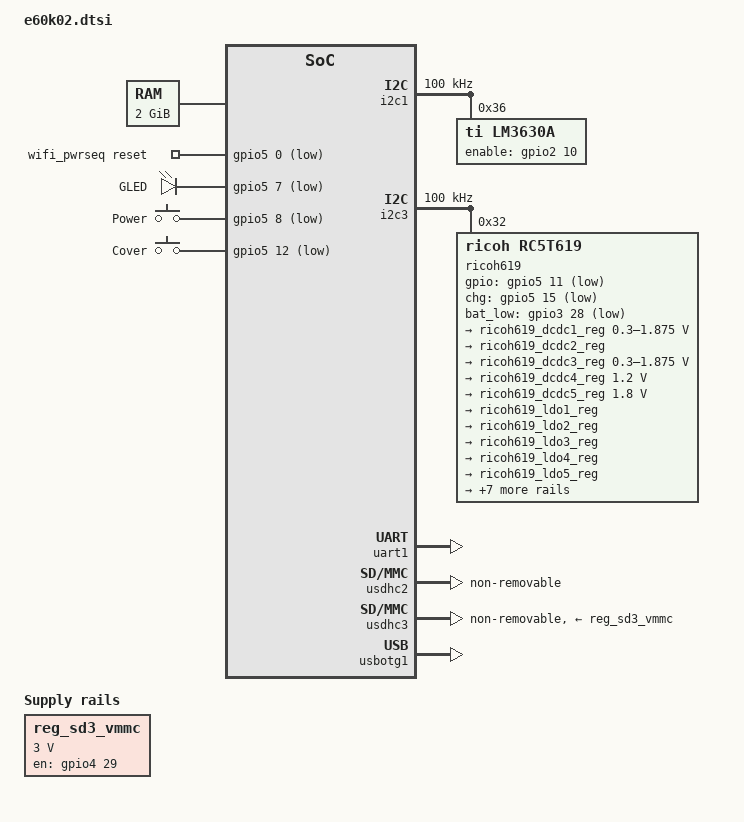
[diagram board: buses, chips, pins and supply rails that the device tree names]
// SPDX-License-Identifier: GPL-2.0
/*
 * Copyright 2019 Andreas Kemnade
 * based on works
 * Copyright 2016 Freescale Semiconductor, Inc.
 * and
 * Copyright (C) 2014 Ricoh Electronic Devices Co., Ltd
 *
 * Netronix E60K02 board common.
 * This board is equipped with different SoCs and
 * found in ebook-readers like the Kobo Clara HD (with i.MX6SLL) and
 * the Tolino Shine 3 (with i.MX6SL)
 */

/ {

	memory {
		reg = <0x80000000 0x80000000>;
	};

	chosen {
		stdout-path = &uart1;
	};

	wifi_pwrseq: wifi_pwrseq {
		compatible = "mmc-pwrseq-simple";
		post-power-on-delay-ms = <20>;
		reset-gpios = <&gpio5 0 GPIO_ACTIVE_LOW>;
	};

	regulators {
		compatible = "simple-bus";
		#address-cells = <1>;
		#size-cells = <0>;

		reg_sd3_vmmc: wifi_regulator {
			compatible = "regulator-fixed";
			regulator-name = "SD3_SPWR";
			regulator-min-microvolt = <3000000>;
			regulator-max-microvolt = <3000000>;

			gpio = <&gpio4 29 GPIO_ACTIVE_HIGH>;
			enable-active-high;

		};
	};

	leds {
		compatible = "gpio-leds";
		pinctrl-names = "default";
		pinctrl-0 = <&pinctrl_led>;

		GLED {
			gpios = <&gpio5 7 GPIO_ACTIVE_LOW>;
			linux,default-trigger = "timer";
		};
	};

	gpio-keys {
		compatible = "gpio-keys";
		pinctrl-names = "default";
		pinctrl-0 = <&pinctrl_gpio_keys>;
		power {
			label = "Power";
			gpios = <&gpio5 8 GPIO_ACTIVE_LOW>;
			linux,code = <KEY_POWER>;
			gpio-key,wakeup;
		};
		cover {
			label = "Cover";
			gpios = <&gpio5 12 GPIO_ACTIVE_LOW>;
			linux,code = <SW_LID>;
			linux,input-type = <0x05>;    /* EV_SW */
			gpio-key,wakeup;
		};
	};

};



&audmux {
	pinctrl-names = "default";
	status = "disabled";
};

&snvs_rtc {
	status = "disabled";
};

&i2c1 {
	clock-frequency = <100000>;
	pinctrl-names = "default","sleep";
	pinctrl-0 = <&pinctrl_i2c1 &pinctrl_lm3630a_bl_gpio>;
	pinctrl-1 = <&pinctrl_i2c1_sleep>;
	status = "okay";

	lm3630a: lm3630a-i2c@36 {
		reg = <0x36>;
		status = "ok";

		compatible = "ti,lm3630a";
		enable-gpios = <&gpio2 10 0>;

		#address-cells = <1>;
		#size-cells = <0>;

		led@0 {
			reg = <0>;
			led-sources = <0>;
			label = "backlight_warm";
			default-brightness = <0>;
			max-brightness = <255>;
		};

		led@1 {
			reg = <1>;
			led-sources = <1>;
			label = "backlight_cold";
			default-brightness = <0>;
			max-brightness = <255>;
		};

	};
};

&i2c3 {
	clock-frequency = <100000>;
	pinctrl-names = "default";
	pinctrl-0 = <&pinctrl_i2c3 &pinctrl_ricoh_gpio>;
	status = "okay";

	ricoh619: ricoh619-i2c@32 {
		compatible = "ricoh,rc5t619";
		reg = <0x32>;

		system-power-controller;
		gpios = <&gpio5 11 GPIO_ACTIVE_LOW>;
		gpio_chg = <&gpio5 15 GPIO_ACTIVE_LOW>;
		gpio_bat_low = <&gpio3 28 GPIO_ACTIVE_LOW>;
	};

};

&ricoh619
{
	compatible = "ricoh,rc5t619";

	regulators {
		ricoh619_dcdc1_reg: DCDC1 {
			regulator-name = "DCDC1";
			regulator-min-microvolt = <300000>;
			regulator-max-microvolt = <1875000>;
			regulator-always-on;
			regulator-boot-on;
			regulator-state-mem {
				regulator-on-in-suspend;
				regulator-suspend-microvolt = <900000>;
			};
		};

		/* Core3_3V3 */
		ricoh619_dcdc2_reg: DCDC2 {
			regulator-name = "DCDC2";
			regulator-always-on;
			regulator-boot-on;
			regulator-state-mem {
				regulator-on-in-suspend;
				regulator-suspend-microvolt = <3300000>;
			};
		};

		ricoh619_dcdc3_reg: DCDC3 {
			regulator-name = "DCDC3";
			regulator-min-microvolt = <300000>;
			regulator-max-microvolt = <1875000>;
			regulator-always-on;//
			regulator-boot-on;
			regulator-state-mem {
				regulator-on-in-suspend;
				regulator-suspend-microvolt = <1140000>;
			};
		};

		/* Core4_1V2 */
		ricoh619_dcdc4_reg: DCDC4 {
			regulator-name = "DCDC4";
			regulator-min-microvolt = <1200000>;
			regulator-max-microvolt = <1200000>;
			regulator-always-on;
			regulator-boot-on;
			regulator-state-mem {
				regulator-on-in-suspend;
				regulator-suspend-microvolt = <1140000>;
			};
		};

		/* Core4_1V8 */
		ricoh619_dcdc5_reg: DCDC5 {
			regulator-name = "DCDC5";
			regulator-min-microvolt = <1800000>;
			regulator-max-microvolt = <1800000>;
			regulator-always-on;
			regulator-boot-on;
			regulator-state-mem {
				regulator-on-in-suspend;
				regulator-suspend-microvolt = <1700000>;
			};
		};

		/* IR_3V3 */
		ricoh619_ldo1_reg: LDO1  {
			regulator-name = "LDO1";
			//regulator-always-on;
			regulator-boot-on;
		};

		/* Core1_3V3 */
		ricoh619_ldo2_reg: LDO2  {
			regulator-name = "LDO2";
			regulator-always-on;
			regulator-boot-on;
			regulator-state-mem {
				regulator-on-in-suspend;
				regulator-suspend-microvolt = <3000000>;
			};
		};

		/* Core5_1V2 */
		ricoh619_ldo3_reg: LDO3  {
			regulator-name = "LDO3";
			regulator-always-on;
			regulator-boot-on;
		};

		ricoh619_ldo4_reg: LDO4 {
			regulator-name = "LDO4";
			regulator-boot-on;
		};

		/* SPD_3V3 */
		ricoh619_ldo5_reg: LDO5 {
			regulator-name = "LDO5";
			regulator-always-on;
			regulator-boot-on;
		};

		/* DDR_0V6 */
		ricoh619_ldo6_reg: LDO6 {
			regulator-name = "LDO6";
			regulator-always-on;
			regulator-boot-on;
		};

		/* VDD_PWM */
		ricoh619_ldo7_reg: LDO7 {
			regulator-name = "LDO7";
			regulator-always-on;
			regulator-boot-on;
		};

		/* ldo_1v8 */
		ricoh619_ldo8_reg: LDO8 {
			regulator-name = "LDO8";
			regulator-min-microvolt = <1800000>;
			regulator-max-microvolt = <1800000>;
			regulator-always-on;
			regulator-boot-on;
		};

		ricoh619_ldo9_reg: LDO9 {
			regulator-name = "LDO9";
			regulator-boot-on;
		};

		ricoh619_ldo10_reg: LDO10 {
			regulator-name = "LDO10";
			regulator-boot-on;
		};

		ricoh619_ldortc1_reg: LDORTC1  {
			regulator-name = "LDORTC1";
			regulator-boot-on;
		};

		ricoh619_ldortc2_reg: LDORTC2 {
			regulator-name = "LDORTC2";
			regulator-boot-on;
		};
	};
};

&uart1 {
	pinctrl-names = "default";
	pinctrl-0 = <&pinctrl_uart1>;
	status = "okay";
};

&usdhc1 {
	status = "disabled";
};

&usdhc2 {
	pinctrl-names = "default", "state_100mhz", "state_200mhz","sleep";
	pinctrl-0 = <&pinctrl_usdhc2>;
	pinctrl-1 = <&pinctrl_usdhc2_100mhz>;
	pinctrl-2 = <&pinctrl_usdhc2_200mhz>;
	pinctrl-3 = <&pinctrl_usdhc2_sleep>;
	non-removable;
	status = "okay";
};

&usdhc3 {
	pinctrl-names = "default", "state_100mhz", "state_200mhz","sleep";
	pinctrl-0 = <&pinctrl_usdhc3>, <&pinctrl_usdhc3_pwr>;
	pinctrl-1 = <&pinctrl_usdhc3_100mhz>;
	pinctrl-2 = <&pinctrl_usdhc3_200mhz>;
	pinctrl-3 = <&pinctrl_usdhc3_sleep>, <&pinctrl_usdhc3_pwr>;
	vmmc-supply = <&reg_sd3_vmmc>;
	mmc-pwrseq = <&wifi_pwrseq>;
	cap-power-off-card;
	non-removable;
	status = "okay";
};

&usbotg1 {
	pinctrl-names = "default";
	disable-over-current;
	srp-disable;
	hnp-disable;
	adp-disable;
	status = "okay";
};


&ssi2 {
	status = "disabled";
};

